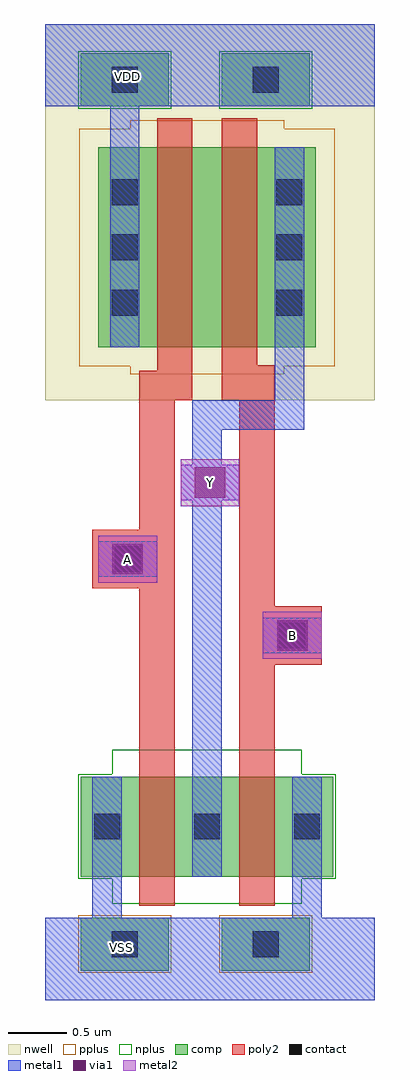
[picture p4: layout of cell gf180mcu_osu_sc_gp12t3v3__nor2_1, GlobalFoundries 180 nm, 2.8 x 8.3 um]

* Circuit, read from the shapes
.subckt gf180mcu_osu_sc_gp12t3v3__nor2_1 A B VDD VSS Y
XM1 Y A VSS VSS nfet_03v3 w=0.85u l=0.3u
XM2 VSS B Y VSS nfet_03v3 w=0.85u l=0.3u
XM3 n1 A VDD VDD pfet_03v3 w=1.7u l=0.3u
XM4 Y B n1 VDD pfet_03v3 w=1.7u l=0.3u
.ends

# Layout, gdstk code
import gdstk
lib = gdstk.Library(unit=1e-6, precision=1e-09)
def R(c, l, rs):  # rectangles x0, y0, x1, y1
    for r in rs: c.add(gdstk.rectangle(r[:2], r[2:], *l))
def A(c, l, x, y, w, h, nx, ny, dx, dy):  # array of equal rectangles
    R(c, l, [(x+i*dx, y+j*dy, x+i*dx+w, y+j*dy+h) for i in range(nx) for j in range(ny)])
nwell = (21, 0)
comp = (22, 0)
poly2 = (30, 0)
pplus = (31, 0)
nplus = (32, 0)
contact = (33, 0)
metal1 = (34, 0)
via1 = (35, 0)
metal2 = (36, 0)

gf180mcu_osu_sc_gp12t3v3 = lib.new_cell('gf180mcu_osu_sc_gp12t3v3__nor2_1')
R(gf180mcu_osu_sc_gp12t3v3, nwell, [(0,5.1,2.8,8.3)])
R(gf180mcu_osu_sc_gp12t3v3, comp, [(0.3,0.25,1.05,0.7), (1.5,0.25,2.25,0.7), (0.3,1.05,2.45,1.9), (0.45,5.55,2.3,7.25), (0.3,7.6,1.05,8.05), (1.5,7.6,2.25,8.05)])
R(gf180mcu_osu_sc_gp12t3v3, poly2, [(0.8,0.8,1.1,3.5), (1.65,0.8,1.95,2.85), (1.65,2.85,2.35,3.35), (1.65,3.35,1.95,5.1), (0.4,3.5,1.1,4), (0.8,4,1.1,5.1), (0.8,5.1,1.25,5.35), (1.5,5.1,1.95,5.4), (0.95,5.35,1.25,7.5), (1.5,5.4,1.8,7.5)])
R(gf180mcu_osu_sc_gp12t3v3, pplus, [(0.28,0.23,1.07,0.72), (1.48,0.23,2.27,0.72), (0.72,5.32,2.03,5.39), (0.29,5.39,2.46,7.41), (0.72,7.41,2.03,7.48)])
R(gf180mcu_osu_sc_gp12t3v3, nplus, [(0.57,0.82,2.18,1.03), (0.28,1.03,2.47,1.92), (0.57,1.92,2.18,2.13), (0.28,7.58,1.07,8.07), (1.48,7.58,2.27,8.07)])
A(gf180mcu_osu_sc_gp12t3v3, contact, 0.415, 1.365, 0.22, 0.22, 3, 1, 0.85, 0)
A(gf180mcu_osu_sc_gp12t3v3, contact, 0.565, 5.82, 0.22, 0.22, 1, 3, 0, 0.47)
A(gf180mcu_osu_sc_gp12t3v3, contact, 1.965, 5.82, 0.22, 0.22, 1, 3, 0, 0.47)
R(gf180mcu_osu_sc_gp12t3v3, contact, [(0.565,0.365,0.785,0.585), (1.765,0.365,1.985,0.585), (1.99,2.99,2.21,3.21), (0.59,3.64,0.81,3.86), (0.565,7.715,0.785,7.935), (1.765,7.715,1.985,7.935)])
R(gf180mcu_osu_sc_gp12t3v3, metal1, [(0,0,2.8,0.7), (0.4,0.7,0.65,1.9), (2.1,0.7,2.35,1.9), (1.25,1.05,1.5,4.25), (1.85,2.95,2.35,3.25), (0.45,3.6,0.95,3.9), (1.15,4.25,1.65,4.55), (1.25,4.55,1.5,4.85), (1.25,4.85,2.2,5.1), (1.95,5.1,2.2,7.25), (0.55,5.55,0.8,7.6), (0,7.6,2.8,8.3)])
R(gf180mcu_osu_sc_gp12t3v3, via1, [(1.97,2.97,2.23,3.23), (0.57,3.62,0.83,3.88), (1.27,4.27,1.53,4.53)])
R(gf180mcu_osu_sc_gp12t3v3, metal2, [(1.85,2.9,2.35,3.3), (0.45,3.55,0.95,3.95), (1.15,4.2,1.65,4.6)])
gf180mcu_osu_sc_gp12t3v3.add(gdstk.Label('A', (0.7,3.75), layer=36, texttype=10))
gf180mcu_osu_sc_gp12t3v3.add(gdstk.Label('B', (2.1,3.1), layer=36, texttype=10))
gf180mcu_osu_sc_gp12t3v3.add(gdstk.Label('Y', (1.4,4.4), layer=36, texttype=10))
gf180mcu_osu_sc_gp12t3v3.add(gdstk.Label('VDD', (0.7,7.85), layer=34, texttype=10))
gf180mcu_osu_sc_gp12t3v3.add(gdstk.Label('VSS', (0.65,0.45), layer=34, texttype=10))

lib.write_gds('gf180mcu_osu_sc_gp12t3v3__nor2_1.gds')
